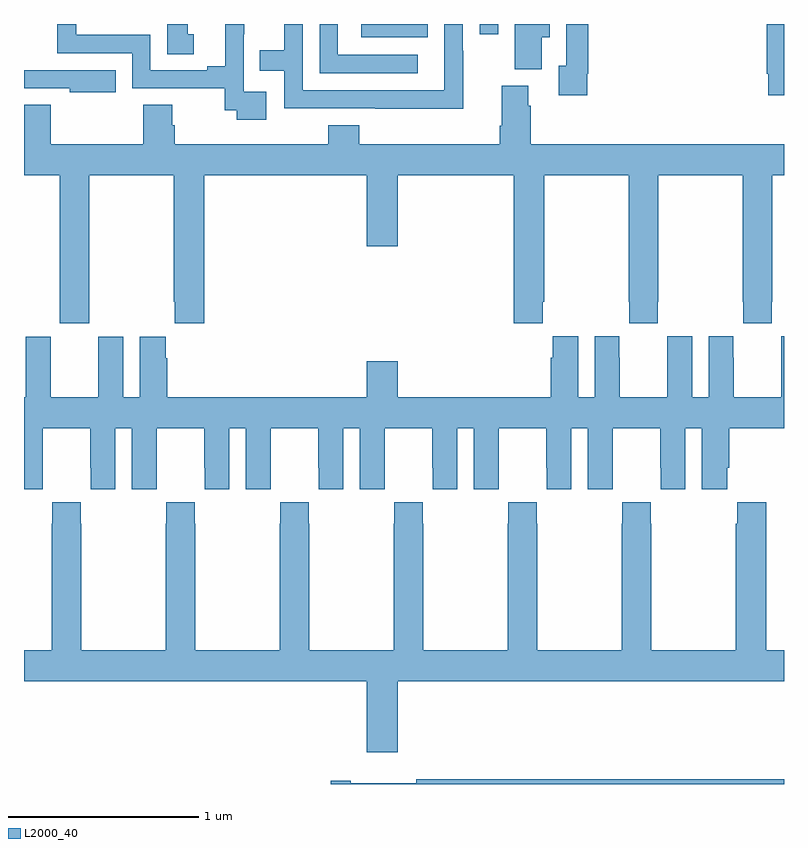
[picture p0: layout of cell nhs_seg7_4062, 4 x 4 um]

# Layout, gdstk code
import gdstk
lib = gdstk.Library(unit=1e-6, precision=1e-09)
def R(c, l, rs):  # rectangles x0, y0, x1, y1
    for r in rs: c.add(gdstk.rectangle(r[:2], r[2:], *l))
def P(c, l, *ps):  # polygons
    for p in ps: c.add(gdstk.Polygon(p, *l))
L2000_40 = (2000, 40)

nhs_seg7_4062 = lib.new_cell('nhs_seg7_4062')
R(nhs_seg7_4062, L2000_40, [(368.775,1079.93,369.124,1080), (369.399,1079.946,369.495,1080)])
P(nhs_seg7_4062, L2000_40, [(371,1080),(370.909,1080),(370.909,1079.737),(370.917,1079.737),(370.917,1079.625),(371,1079.625)],
  [(369.311,1079.858),(369.309,1079.858),(369.309,1080),(369.213,1080),(369.213,1079.652),(368.466,1079.652),(368.466,1080),(368.369,1080),(368.369,1079.863),(368.242,1079.863),(368.242,1079.754),(368.37,1079.754),(368.37,1079.556),(368.848,1079.556),(368.848,1079.555),(369.311,1079.555)],
  [(369.073,1079.838),(368.652,1079.838),(368.652,1080),(368.556,1080),(368.556,1079.742),(369.073,1079.742)],
  [(369.724,1079.93),(369.766,1079.93),(369.766,1080),(369.584,1080),(369.584,1079.761),(369.724,1079.761)],
  [(367.894,1079.946),(367.861,1079.946),(367.861,1080),(367.754,1080),(367.754,1079.842),(367.894,1079.842)],
  [(368.275,1079.643),(368.157,1079.643),(368.157,1079.947),(368.159,1079.947),(368.159,1080),(368.06,1080),(368.06,1079.777),(367.964,1079.777),(367.964,1079.757),(367.665,1079.757),(367.665,1079.943),(367.275,1079.943),(367.275,1080),(367.174,1080),(367.174,1079.847),(367.569,1079.847),(367.569,1079.661),(368.056,1079.661),(368.056,1079.547),(368.119,1079.547),(368.119,1079.496),(368.275,1079.496)],
  [(369.964,1079.737),(369.971,1079.737),(369.971,1080),(369.855,1080),(369.855,1079.781),(369.815,1079.781),(369.815,1079.625),(369.964,1079.625)],
  [(367.484,1079.757),(367,1079.757),(367,1079.661),(367.241,1079.661),(367.241,1079.642),(367.484,1079.642)],
  [(369.515,1079.464),(369.503,1079.464),(369.503,1079.368),(368.765,1079.368),(368.765,1079.467),(368.6,1079.467),(368.6,1079.368),(367.793,1079.368),(367.793,1079.466),(367.78,1079.466),(367.78,1079.576),(367.628,1079.576),(367.628,1079.368),(367.142,1079.368),(367.142,1079.576),(367,1079.576),(367,1079.204),(367.189,1079.204),(367.189,1078.425),(367.344,1078.425),(367.344,1079.204),(367.789,1079.204),(367.789,1078.537),(367.793,1078.537),(367.793,1078.425),(367.949,1078.425),(367.949,1079.204),(368.804,1079.204),(368.804,1078.83),(368.968,1078.83),(368.968,1079.204),(369.578,1079.204),(369.578,1078.425),(369.731,1078.425),(369.731,1078.537),(369.738,1078.537),(369.738,1079.204),(370.183,1079.204),(370.183,1078.537),(370.185,1078.537),(370.185,1078.425),(370.335,1078.425),(370.335,1078.537),(370.338,1078.537),(370.338,1079.204),(370.783,1079.204),(370.783,1078.537),(370.785,1078.537),(370.785,1078.425),(370.935,1078.425),(370.935,1078.537),(370.938,1078.537),(370.938,1079.204),(371,1079.204),(371,1079.368),(369.668,1079.368),(369.668,1079.57),(369.655,1079.57),(369.655,1079.676),(369.515,1079.676)],
  [(367.098,1077.664),(367.099,1077.664),(367.099,1077.872),(367.349,1077.872),(367.349,1077.664),(367.35,1077.664),(367.35,1077.552),(367.48,1077.552),(367.48,1077.872),(367.568,1077.872),(367.568,1077.552),(367.698,1077.552),(367.698,1077.664),(367.699,1077.664),(367.699,1077.872),(367.949,1077.872),(367.949,1077.664),(367.95,1077.664),(367.95,1077.552),(368.08,1077.552),(368.08,1077.872),(368.168,1077.872),(368.168,1077.552),(368.298,1077.552),(368.298,1077.664),(368.299,1077.664),(368.299,1077.872),(368.549,1077.872),(368.549,1077.664),(368.55,1077.664),(368.55,1077.552),(368.68,1077.552),(368.68,1077.872),(368.768,1077.872),(368.768,1077.552),(368.898,1077.552),(368.898,1077.664),(368.899,1077.664),(368.899,1077.872),(369.149,1077.872),(369.149,1077.664),(369.15,1077.664),(369.15,1077.552),(369.28,1077.552),(369.28,1077.872),(369.368,1077.872),(369.368,1077.552),(369.498,1077.552),(369.498,1077.664),(369.499,1077.664),(369.499,1077.872),(369.749,1077.872),(369.749,1077.664),(369.75,1077.664),(369.75,1077.552),(369.88,1077.552),(369.88,1077.872),(369.968,1077.872),(369.968,1077.552),(370.098,1077.552),(370.098,1077.664),(370.099,1077.664),(370.099,1077.872),(370.349,1077.872),(370.349,1077.664),(370.35,1077.664),(370.35,1077.552),(370.48,1077.552),(370.48,1077.872),(370.568,1077.872),(370.568,1077.552),(370.702,1077.552),(370.702,1077.664),(370.712,1077.664),(370.712,1077.872),(371,1077.872),(371,1078.357),(370.986,1078.357),(370.986,1078.244),(370.985,1078.244),(370.985,1078.036),(370.735,1078.036),(370.735,1078.244),(370.734,1078.244),(370.734,1078.357),(370.604,1078.357),(370.604,1078.036),(370.516,1078.036),(370.516,1078.357),(370.386,1078.357),(370.386,1078.244),(370.385,1078.244),(370.385,1078.036),(370.135,1078.036),(370.135,1078.244),(370.134,1078.244),(370.134,1078.357),(370.004,1078.357),(370.004,1078.036),(369.916,1078.036),(369.916,1078.357),(369.782,1078.357),(369.782,1078.244),(369.773,1078.244),(369.773,1078.036),(368.968,1078.036),(368.968,1078.225),(368.804,1078.225),(368.804,1078.036),(367.754,1078.036),(367.754,1078.241),(367.747,1078.241),(367.747,1078.354),(367.61,1078.354),(367.61,1078.036),(367.522,1078.036),(367.522,1078.354),(367.391,1078.354),(367.391,1078.036),(367.141,1078.036),(367.141,1078.354),(367.01,1078.354),(367.01,1078.036),(367,1078.036),(367,1077.552),(367.098,1077.552)],
  [(368.968,1076.54),(371,1076.54),(371,1076.704),(370.907,1076.704),(370.907,1077.484),(370.753,1077.484),(370.753,1077.371),(370.747,1077.371),(370.747,1076.704),(370.302,1076.704),(370.302,1077.371),(370.299,1077.371),(370.299,1077.484),(370.149,1077.484),(370.149,1077.371),(370.147,1077.371),(370.147,1076.704),(369.702,1076.704),(369.702,1077.371),(369.699,1077.371),(369.699,1077.484),(369.549,1077.484),(369.549,1077.371),(369.547,1077.371),(369.547,1076.704),(369.102,1076.704),(369.102,1077.371),(369.099,1077.371),(369.099,1077.484),(368.949,1077.484),(368.949,1077.371),(368.947,1077.371),(368.947,1076.704),(368.502,1076.704),(368.502,1077.371),(368.499,1077.371),(368.499,1077.484),(368.349,1077.484),(368.349,1077.371),(368.347,1077.371),(368.347,1076.704),(367.902,1076.704),(367.902,1077.371),(367.899,1077.371),(367.899,1077.484),(367.749,1077.484),(367.749,1077.371),(367.747,1077.371),(367.747,1076.704),(367.302,1076.704),(367.302,1077.371),(367.299,1077.371),(367.299,1077.484),(367.149,1077.484),(367.149,1077.371),(367.147,1077.371),(367.147,1076.704),(367,1076.704),(367,1076.54),(368.804,1076.54),(368.804,1076.166),(368.968,1076.166)],
  [(371,1076.024),(369.064,1076.024),(369.064,1076.005),(368.719,1076.005),(368.719,1076.018),(368.615,1076.018),(368.615,1076),(371,1076)])

lib.write_gds('nhs_seg7_4062.gds')
